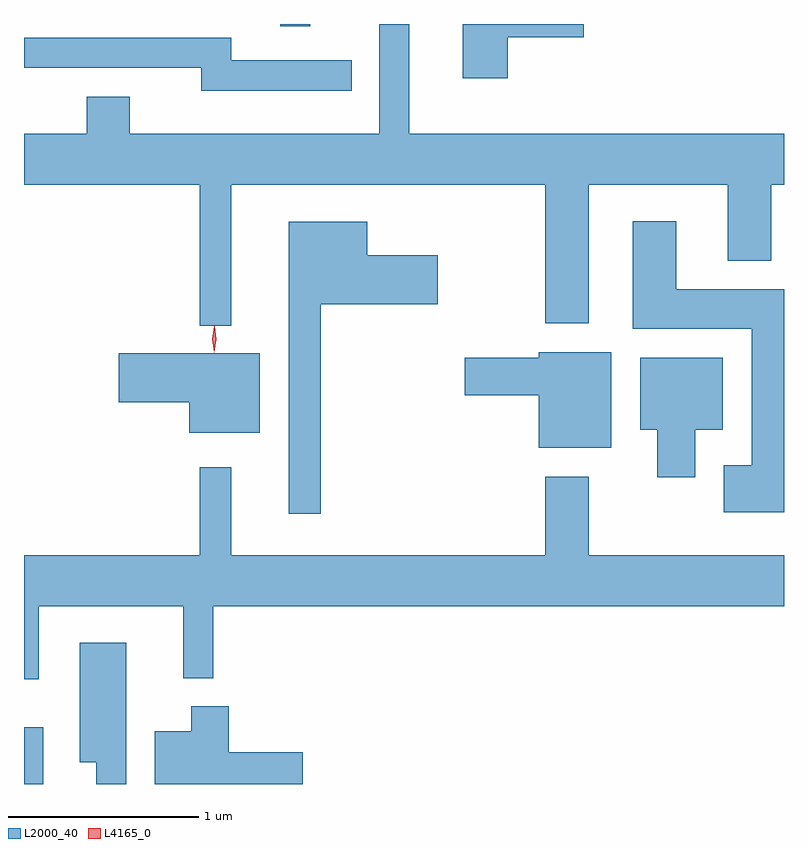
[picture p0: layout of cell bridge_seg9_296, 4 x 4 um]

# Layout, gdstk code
import gdstk
lib = gdstk.Library(unit=1e-6, precision=1e-09)
def R(c, l, rs):  # rectangles x0, y0, x1, y1
    for r in rs: c.add(gdstk.rectangle(r[:2], r[2:], *l))
def P(c, l, *ps):  # polygons
    for p in ps: c.add(gdstk.Polygon(p, *l))
L2000_40 = (2000, 40)
L4165_0 = (4165, 0)

bridge_seg9_296 = lib.new_cell('bridge_seg9_296')
R(bridge_seg9_296, L2000_40, [(965.897,2013.081,965.999,2013.379), (967.246,2017.068,967.404,2017.081)])
P(bridge_seg9_296, L2000_40, [(966.989,2016.236),(968.641,2016.236),(968.641,2015.506),(968.869,2015.506),(968.869,2016.236),(969.601,2016.236),(969.601,2015.836),(969.829,2015.836),(969.829,2016.236),(969.897,2016.236),(969.897,2016.504),(967.924,2016.504),(967.924,2017.081),(967.766,2017.081),(967.766,2016.504),(966.454,2016.504),(966.454,2016.699),(966.226,2016.699),(966.226,2016.504),(965.897,2016.504),(965.897,2016.236),(966.821,2016.236),(966.821,2015.493),(966.989,2015.493)],
  [(968.444,2017.011),(968.844,2017.011),(968.844,2017.081),(968.206,2017.081),(968.206,2016.796),(968.444,2016.796)],
  [(967.623,2016.889),(966.989,2016.889),(966.989,2017.009),(965.897,2017.009),(965.897,2016.851),(966.831,2016.851),(966.831,2016.731),(967.623,2016.731)],
  [(969.897,2015.684),(969.329,2015.684),(969.329,2016.044),(969.101,2016.044),(969.101,2015.476),(969.726,2015.476),(969.726,2014.759),(969.581,2014.759),(969.581,2014.511),(969.897,2014.511)],
  [(967.459,2015.606),(968.074,2015.606),(968.074,2015.864),(967.704,2015.864),(967.704,2016.039),(967.291,2016.039),(967.291,2014.503),(967.459,2014.503)],
  [(968.989,2015.354),(968.606,2015.354),(968.606,2015.324),(968.216,2015.324),(968.216,2015.126),(968.606,2015.126),(968.606,2014.851),(968.989,2014.851)],
  [(967.139,2015.349),(966.396,2015.349),(966.396,2015.091),(966.766,2015.091),(966.766,2014.931),(967.139,2014.931)],
  [(969.429,2014.946),(969.574,2014.946),(969.574,2015.324),(969.141,2015.324),(969.141,2014.946),(969.231,2014.946),(969.231,2014.696),(969.429,2014.696)],
  [(965.974,2014.016),(966.736,2014.016),(966.736,2013.638),(966.894,2013.638),(966.894,2014.016),(969.897,2014.016),(969.897,2014.284),(968.869,2014.284),(968.869,2014.699),(968.641,2014.699),(968.641,2014.284),(966.989,2014.284),(966.989,2014.748),(966.821,2014.748),(966.821,2014.284),(965.897,2014.284),(965.897,2013.633),(965.974,2013.633)],
  [(966.434,2013.824),(966.191,2013.824),(966.191,2013.196),(966.276,2013.196),(966.276,2013.081),(966.434,2013.081)],
  [(967.364,2013.249),(966.974,2013.249),(966.974,2013.489),(966.776,2013.489),(966.776,2013.359),(966.586,2013.359),(966.586,2013.081),(967.364,2013.081)])
P(bridge_seg9_296, L4165_0, [(966.897,2015.354),(966.889,2015.422),(966.899,2015.49),(966.9,2015.49),(966.9,2015.49),(966.909,2015.422),(966.898,2015.354),(966.898,2015.354)],
  [(966.898,2015.36),(966.897,2015.361),(966.889,2015.424),(966.899,2015.486),(966.9,2015.487),(966.9,2015.486),(966.909,2015.423),(966.898,2015.361)])

lib.write_gds('bridge_seg9_296.gds')
